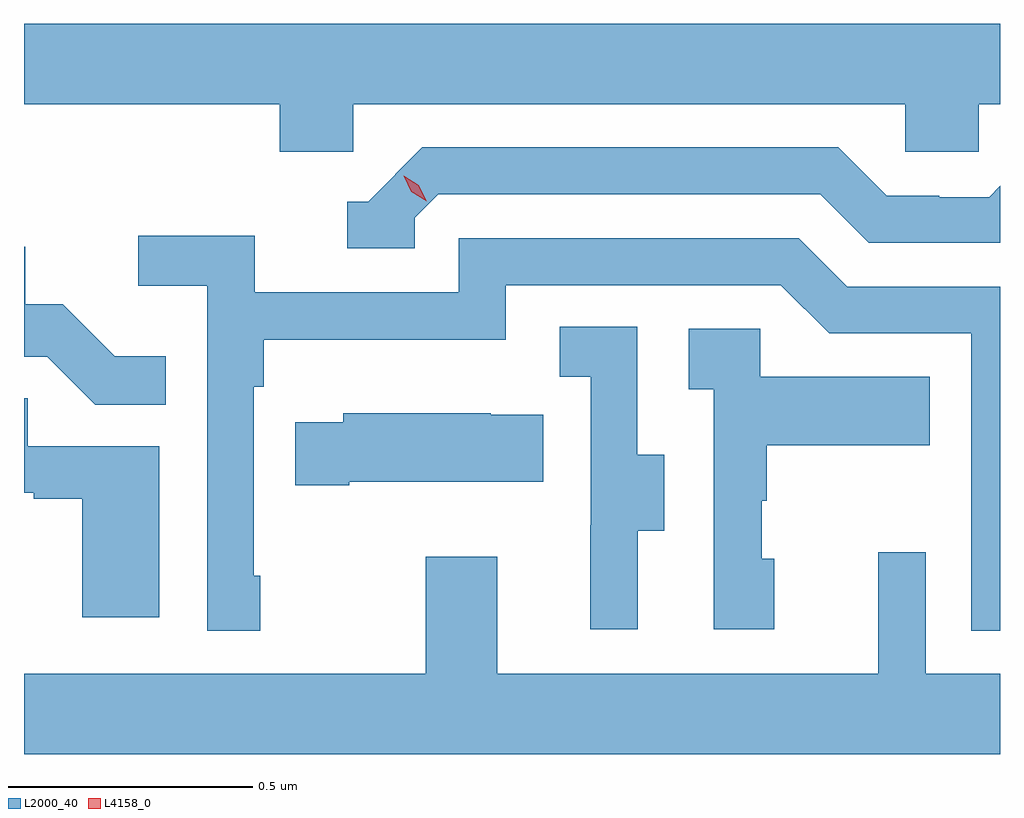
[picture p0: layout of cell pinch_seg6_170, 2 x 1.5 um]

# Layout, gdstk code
import gdstk
lib = gdstk.Library(unit=1e-6, precision=1e-09)
def P(c, l, *ps):  # polygons
    for p in ps: c.add(gdstk.Polygon(p, *l))
L2000_40 = (2000, 40)
L4158_0 = (4158, 0)

pinch_seg6_170 = lib.new_cell('pinch_seg6_170')
P(pinch_seg6_170, L2000_40, [(1047.684,938.012),(1048.815,938.012),(1048.815,937.914),(1048.965,937.914),(1048.965,938.012),(1049.009,938.012),(1049.009,938.176),(1047.009,938.176),(1047.009,938.012),(1047.533,938.012),(1047.533,937.914),(1047.684,937.914)],
  [(1047.81,937.779),(1047.858,937.827),(1048.641,937.827),(1048.74,937.728),(1049.009,937.728),(1049.009,937.844),(1048.987,937.821),(1048.884,937.821),(1048.884,937.824),(1048.777,937.824),(1048.678,937.923),(1047.825,937.923),(1047.714,937.812),(1047.671,937.812),(1047.671,937.716),(1047.81,937.716)],
  [(1047.493,937.045),(1047.48,937.045),(1047.48,937.433),(1047.5,937.433),(1047.5,937.529),(1047.996,937.529),(1047.996,937.641),(1048.56,937.641),(1048.659,937.542),(1048.95,937.542),(1048.95,936.933),(1049.009,936.933),(1049.009,937.638),(1048.696,937.638),(1048.597,937.737),(1047.9,937.737),(1047.9,937.626),(1047.482,937.626),(1047.482,937.742),(1047.243,937.742),(1047.243,937.64),(1047.384,937.64),(1047.384,936.933),(1047.493,936.933)],
  [(1047.299,937.495),(1047.195,937.495),(1047.088,937.602),(1047.012,937.602),(1047.012,937.719),(1047.009,937.719),(1047.009,937.494),(1047.057,937.494),(1047.155,937.396),(1047.299,937.396)],
  [(1048.267,937.138),(1048.321,937.138),(1048.321,937.293),(1048.266,937.293),(1048.266,937.556),(1048.107,937.556),(1048.107,937.453),(1048.17,937.453),(1048.17,937.149),(1048.169,937.149),(1048.169,936.936),(1048.267,936.936)],
  [(1048.546,937.08),(1048.521,937.08),(1048.521,937.199),(1048.531,937.199),(1048.531,937.313),(1048.865,937.313),(1048.865,937.453),(1048.518,937.453),(1048.518,937.551),(1048.371,937.551),(1048.371,937.427),(1048.422,937.427),(1048.422,936.936),(1048.546,936.936)],
  [(1047.286,937.311),(1047.017,937.311),(1047.017,937.409),(1047.009,937.409),(1047.009,937.215),(1047.029,937.215),(1047.029,937.203),(1047.128,937.203),(1047.128,936.96),(1047.286,936.96)],
  [(1047.676,937.238),(1048.073,937.238),(1048.073,937.375),(1047.965,937.375),(1047.965,937.378),(1047.663,937.378),(1047.663,937.36),(1047.565,937.36),(1047.565,937.231),(1047.676,937.231)],
  [(1049.009,936.844),(1048.857,936.844),(1048.857,937.093),(1048.76,937.093),(1048.76,936.844),(1047.979,936.844),(1047.979,937.084),(1047.832,937.084),(1047.832,936.844),(1047.009,936.844),(1047.009,936.68),(1049.009,936.68)])
P(pinch_seg6_170, L4158_0, [(1047.834,937.813),(1047.803,937.832),(1047.787,937.865),(1047.787,937.865),(1047.787,937.865),(1047.818,937.846),(1047.834,937.813),(1047.834,937.813)])

lib.write_gds('pinch_seg6_170.gds')
